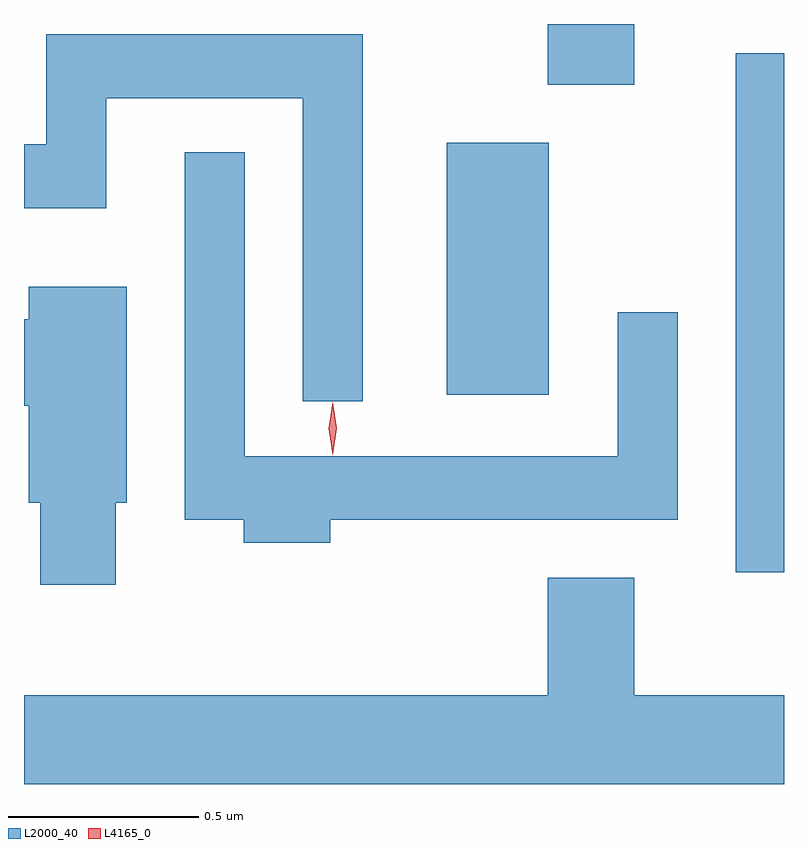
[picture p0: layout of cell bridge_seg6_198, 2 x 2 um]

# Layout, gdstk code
import gdstk
lib = gdstk.Library(unit=1e-6, precision=1e-09)
def R(c, l, rs):  # rectangles x0, y0, x1, y1
    for r in rs: c.add(gdstk.rectangle(r[:2], r[2:], *l))
def P(c, l, *ps):  # polygons
    for p in ps: c.add(gdstk.Polygon(p, *l))
L2000_40 = (2000, 40)
L4165_0 = (4165, 0)

bridge_seg6_198 = lib.new_cell('bridge_seg6_198')
R(bridge_seg6_198, L2000_40, [(1047.406,1597.248,1047.533,1598.614), (1046.646,1597.716,1046.914,1598.379), (1046.911,1598.531,1047.139,1598.691)])
P(bridge_seg6_198, L2000_40, [(1046.424,1598.664),(1045.591,1598.664),(1045.591,1598.374),(1045.533,1598.374),(1045.533,1598.206),(1045.749,1598.206),(1045.749,1598.496),(1046.266,1598.496),(1046.266,1597.698),(1046.424,1597.698)],
  [(1046.339,1597.386),(1047.254,1597.386),(1047.254,1597.933),(1047.096,1597.933),(1047.096,1597.554),(1046.114,1597.554),(1046.114,1598.353),(1045.956,1598.353),(1045.956,1597.386),(1046.111,1597.386),(1046.111,1597.326),(1046.339,1597.326)],
  [(1045.774,1597.431),(1045.804,1597.431),(1045.804,1597.999),(1045.546,1597.999),(1045.546,1597.914),(1045.533,1597.914),(1045.533,1597.686),(1045.546,1597.686),(1045.546,1597.431),(1045.576,1597.431),(1045.576,1597.216),(1045.774,1597.216)],
  [(1047.533,1596.924),(1047.139,1596.924),(1047.139,1597.234),(1046.911,1597.234),(1046.911,1596.924),(1045.533,1596.924),(1045.533,1596.691),(1047.533,1596.691)])
P(bridge_seg6_198, L4165_0, [(1046.345,1597.559),(1046.345,1597.56),(1046.335,1597.626),(1046.345,1597.692),(1046.345,1597.693),(1046.346,1597.692),(1046.355,1597.626),(1046.346,1597.56)],
  [(1046.346,1597.557),(1046.345,1597.558),(1046.335,1597.627),(1046.345,1597.696),(1046.346,1597.696),(1046.346,1597.696),(1046.356,1597.627),(1046.346,1597.558)])

lib.write_gds('bridge_seg6_198.gds')
